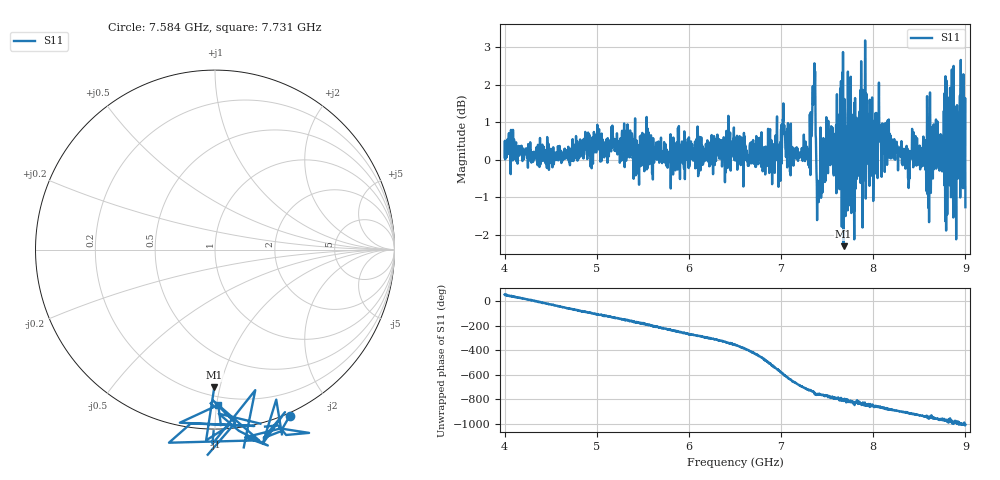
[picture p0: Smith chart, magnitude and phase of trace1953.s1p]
! Created with skrf 1.8.0 (http://scikit-rf.org).
# Hz S RI R 50.0
!freq ReS11 ImS11
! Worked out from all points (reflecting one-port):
!   1601 points, 4 GHz to 9 GHz, reference 50 ohm
!   lowest |S11| = -2.3 dB at 7.678 GHz (marker M1), VSWR 7.62, Z = 12.8 - j48.1 ohm
!   phase of S11 starts at 51 deg and turns -1056 deg over the sweep
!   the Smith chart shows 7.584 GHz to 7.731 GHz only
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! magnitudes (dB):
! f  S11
! 4 GHz  0.1
! 4.625 GHz  0.0
! 5.25 GHz  -0.1
! 5.875 GHz  0.5
! 6.5 GHz  0.2
! 6.806 GHz  0.0
! 6.984 GHz  -0.1
! 7.022 GHz  1.0
! 7.125 GHz  0.2
! 7.294 GHz  -0.1
! 7.347 GHz  1.5
! 7.412 GHz  -0.9
! 7.538 GHz  0.2
! 7.678 GHz  -2.3
! 7.703 GHz  0.8
! 7.75 GHz  -1.2
! 7.784 GHz  -0.2
! 7.853 GHz  1.3
! 7.981 GHz  0.2
! 8.05 GHz  0.8
! 8.375 GHz  0.1
! 8.441 GHz  -0.1
! 8.584 GHz  1.7
! 8.638 GHz  0.9
! 8.919 GHz  -0.4
! 8.956 GHz  0.3
! 8.972 GHz  -0.1
! 9 GHz  -1.3
